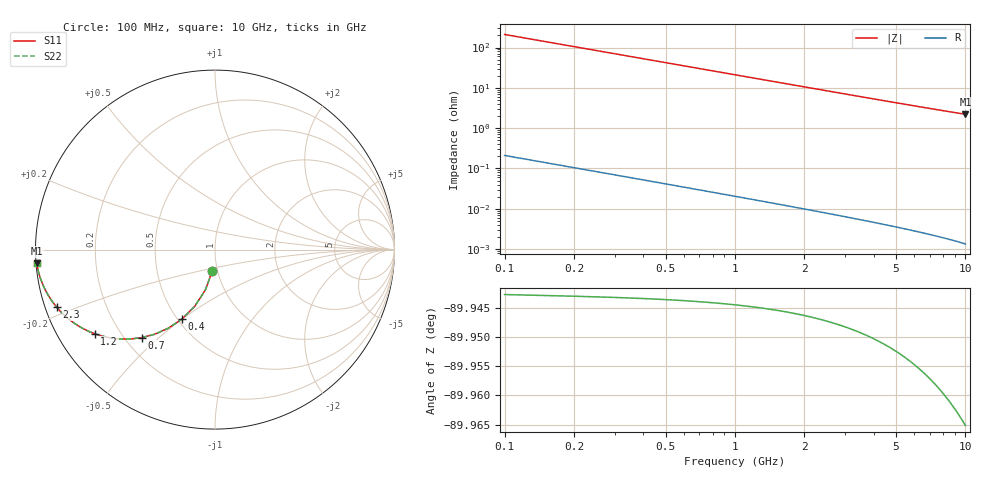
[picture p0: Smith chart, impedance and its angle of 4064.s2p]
# Hz S RI R 50.00
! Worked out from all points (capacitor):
!   100 points, 100 MHz to 10 GHz, reference 50 ohm
!   read as one part in shunt: C = 7.56 pF near 100 MHz
!   lowest |Z| = 2.21 ohm at 10 GHz (marker M1)
!   S11 on the Smith chart (normalised r, x): 100 MHz: 0.95, -0.22; 400 MHz: 0.53, -0.50; 700 MHz: 0.27, -0.44; 1.2 GHz: 0.11, -0.31; 2.3 GHz: 0.03, -0.18; 10 GHz: 0.00, -0.04
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1e8  -0.014 -0.117  0.9859 -0.1171  0.9859 -0.1171  -0.014 -0.117
2e8  -0.0536 -0.2246  0.9464 -0.2248  0.9464 -0.2248  -0.0536 -0.2246
3e8  -0.1128 -0.3158  0.8871 -0.3161  0.8871 -0.3161  -0.1128 -0.3158
4e8  -0.1843 -0.387  0.8156 -0.3875  0.8156 -0.3875  -0.1843 -0.387
5e8  -0.2608 -0.4383  0.7391 -0.4389  0.7391 -0.4389  -0.2608 -0.4383
6e8  -0.3368 -0.4718  0.6631 -0.4724  0.6631 -0.4724  -0.3368 -0.4718
7e8  -0.4087 -0.4907  0.5913 -0.4914  0.5913 -0.4914  -0.4087 -0.4907
9e8  -0.5331 -0.4979  0.4668 -0.4989  0.4668 -0.4989  -0.5331 -0.4979
1e9  -0.585 -0.4917  0.415 -0.4927  0.415 -0.4927  -0.585 -0.4917
1.2e9  -0.6698 -0.4691  0.3301 -0.4704  0.3301 -0.4704  -0.6698 -0.4691
1.3e9  -0.7042 -0.4552  0.2957 -0.4565  0.2957 -0.4565  -0.7042 -0.4552
1.5e9  -0.7601 -0.4257  0.2398 -0.4273  0.2398 -0.4273  -0.7601 -0.4257
1.8e9  -0.8202 -0.3826  0.1798 -0.3844  0.1798 -0.3844  -0.8202 -0.3826
2e9  -0.8491 -0.3563  0.1508 -0.3584  0.1508 -0.3584  -0.8491 -0.3563
2.3e9  -0.8815 -0.3214  0.1184 -0.3238  0.1184 -0.3238  -0.8815 -0.3214
2.8e9  -0.9168 -0.2741  0.0831 -0.277  0.0831 -0.277  -0.9168 -0.2741
3.4e9  -0.942 -0.2313  0.0579 -0.2348  0.0579 -0.2348  -0.942 -0.2313
4.2e9  -0.9612 -0.1903  0.0387 -0.1946  0.0387 -0.1946  -0.9612 -0.1903
5.1e9  -0.9734 -0.1577  0.0265 -0.1629  0.0265 -0.1629  -0.9734 -0.1577
6.7e9  -0.9844 -0.1196  0.0155 -0.1266  0.0155 -0.1266  -0.9844 -0.1196
8.4e9  -0.9901 -0.0939  0.00982 -0.1027  0.00982 -0.1027  -0.9901 -0.0939
1e10  -0.993 -0.0771  0.00687 -0.0877  0.00687 -0.0877  -0.993 -0.0771
